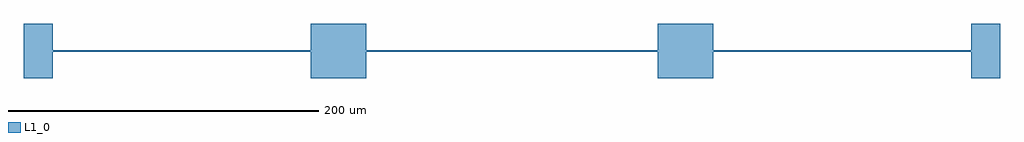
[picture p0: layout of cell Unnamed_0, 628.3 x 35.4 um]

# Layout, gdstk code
import gdstk
lib = gdstk.Library(unit=1e-6, precision=1e-09)
def R(c, l, rs):  # rectangles x0, y0, x1, y1
    for r in rs: c.add(gdstk.rectangle(r[:2], r[2:], *l))
L1_0 = (1, 0)

straight_l18p4_n2_csstri = lib.new_cell('straight_L18p4_N2_CSstrip_W35p4')
R(straight_l18p4_n2_csstri, L1_0, [(0,-17.7,18.4,17.7)])

unnamed_1 = lib.new_cell('Unnamed_1')
unnamed_1.add(gdstk.Reference(straight_l18p4_n2_csstri, (0,0)))

straight_l166p1_n2_csstr = lib.new_cell('straight_L166p1_N2_CSstrip_W1p1')
R(straight_l166p1_n2_csstr, L1_0, [(0,-0.55,166.1,0.55)])

unnamed_3 = lib.new_cell('Unnamed_3')
unnamed_3.add(gdstk.Reference(straight_l166p1_n2_csstr, (18.4,0)))

straight_l35p7_n2_csstri = lib.new_cell('straight_L35p7_N2_CSstrip_W35p4')
R(straight_l35p7_n2_csstri, L1_0, [(0,-17.7,35.7,17.7)])

unnamed_5 = lib.new_cell('Unnamed_5')
unnamed_5.add(gdstk.Reference(straight_l35p7_n2_csstri, (184.5,0)))

straight_l187p9_n2_csstr = lib.new_cell('straight_L187p9_N2_CSstrip_W1p1')
R(straight_l187p9_n2_csstr, L1_0, [(0,-0.55,187.9,0.55)])

unnamed_7 = lib.new_cell('Unnamed_7')
unnamed_7.add(gdstk.Reference(straight_l187p9_n2_csstr, (220.2,0)))

unnamed_9 = lib.new_cell('Unnamed_9')
unnamed_9.add(gdstk.Reference(straight_l35p7_n2_csstri, (408.1,0)))

unnamed_10 = lib.new_cell('Unnamed_10')
unnamed_10.add(gdstk.Reference(straight_l166p1_n2_csstr, (443.8,0)))

unnamed_11 = lib.new_cell('Unnamed_11')
unnamed_11.add(gdstk.Reference(straight_l18p4_n2_csstri, (609.9,0)))

unnamed_0 = lib.new_cell('Unnamed_0')
unnamed_0.add(gdstk.Reference(unnamed_1, (0,0)))
unnamed_0.add(gdstk.Reference(unnamed_3, (0,0)))
unnamed_0.add(gdstk.Reference(unnamed_5, (0,0)))
unnamed_0.add(gdstk.Reference(unnamed_7, (0,0)))
unnamed_0.add(gdstk.Reference(unnamed_9, (0,0)))
unnamed_0.add(gdstk.Reference(unnamed_10, (0,0)))
unnamed_0.add(gdstk.Reference(unnamed_11, (0,0)))

lib.write_gds('Unnamed_0.gds')
